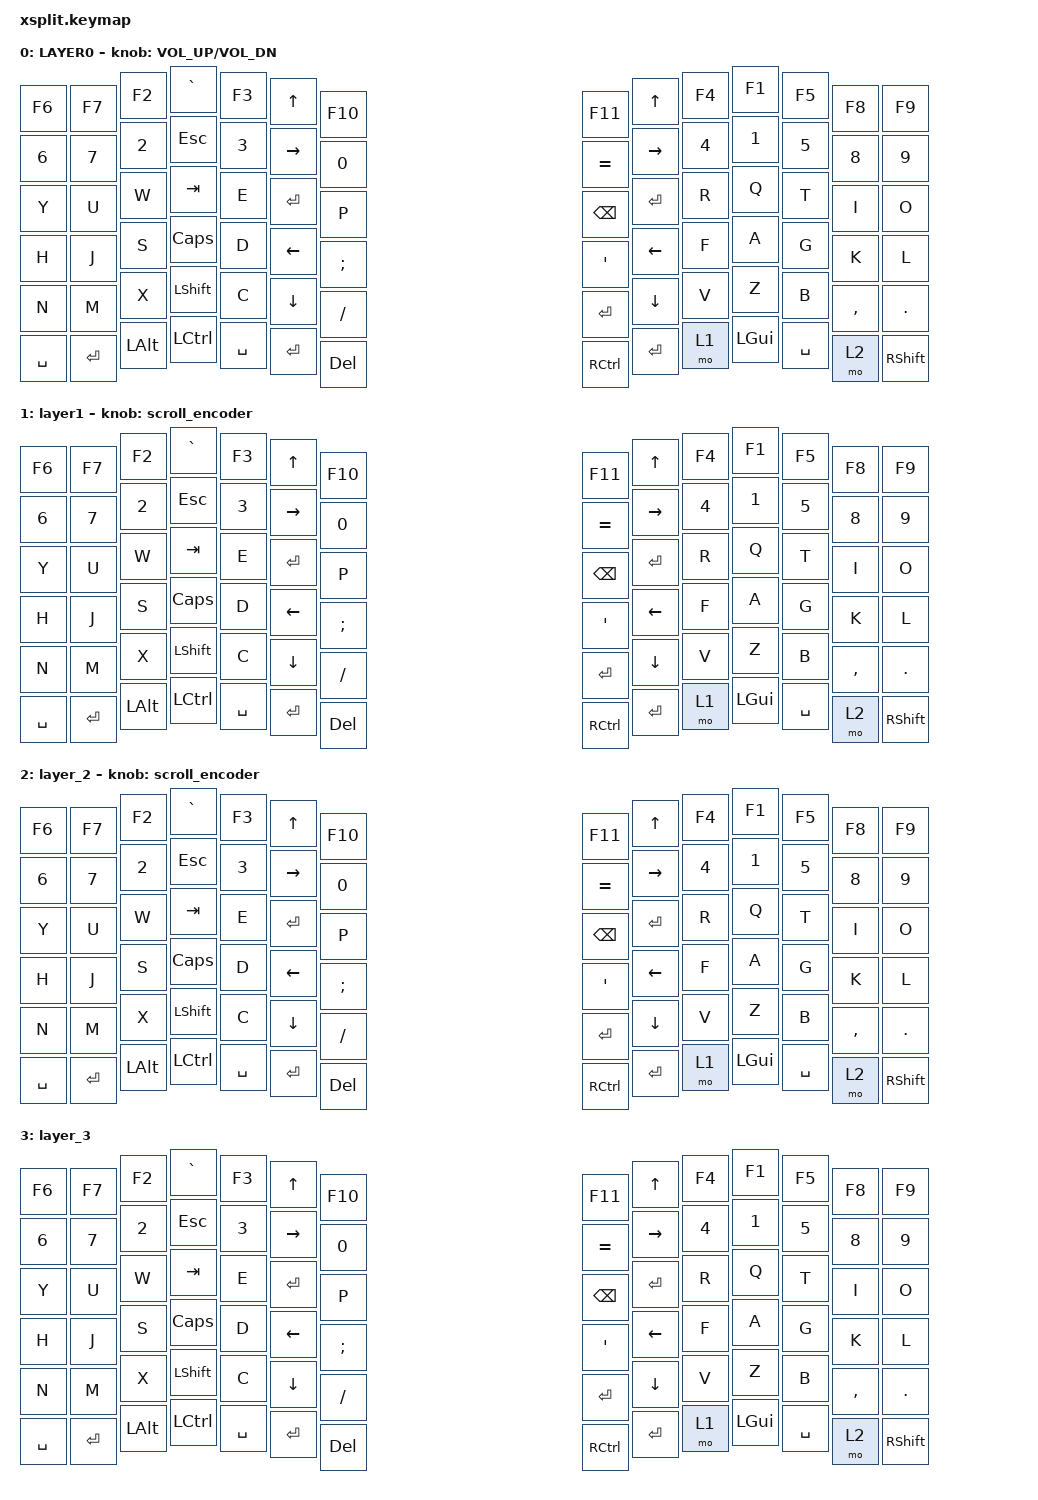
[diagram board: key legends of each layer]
#include <behaviors.dtsi>
#include <dt-bindings/zmk/bt.h>
#include <dt-bindings/zmk/keys.h>
#include <dt-bindings/zmk/mouse.h>
#include <dt-bindings/zmk/outputs.h>
#include <dt-bindings/zmk/rgb.h>


#include <input/processors.dtsi>

/*

   &mmv_input_listener {
       input-processors = <&zip_xy_scaler 2 1>;
   };

   &msc_input_listener {
       input-processors = <&zip_xy_scaler 2 1>;
   };

 */

#define ZMK_MOUSE_DEFAULT_MOVE_VAL 1200  // 600
#define ZMK_MOUSE_DEFAULT_SCRL_VAL 20    // 10


/ {
    behaviors {
        mmv {
            acceleration-exponent = <1>;      // 1
            time-to-max-speed-ms = <900>;    // 40
            delay-ms = <0>;                   // 0
        };

        msc {
            acceleration-exponent = <1>;      // 0
            time-to-max-speed-ms = <400>;      // 500
            delay-ms = <0>;                   //   10
        };
    };

    scroll_encoder: scroll_encoder {
        compatible = "zmk,behavior-sensor-rotate";
        #sensor-binding-cells = <0>;
        bindings = <&msc SCRL_DOWN>, <&msc SCRL_UP>;

        tap-ms = <30>;
    };


       xsplit_keymap: keymap {
        compatible = "zmk,keymap";

        layer0 {
            bindings = <
&kp GRAVE  &kp F1    &kp F2    &kp F3     &kp F4  &kp F5     &kp UP     &kp UP     &kp F6     &kp F7     &kp F8     &kp F9           &kp F10     &kp F11
&kp ESC    &kp N1    &kp N2    &kp N3     &kp N4  &kp N5     &kp RIGHT  &kp RIGHT  &kp N6     &kp N7     &kp N8     &kp N9           &kp N0      &kp EQUAL
&kp TAB    &kp Q     &kp W     &kp E      &kp R   &kp T      &kp RET    &kp RET    &kp Y      &kp U      &kp I      &kp O            &kp P       &kp BSPC
&kp CAPS   &kp A     &kp S     &kp D      &kp F   &kp G      &kp LEFT   &kp LEFT   &kp H      &kp J      &kp K      &kp L            &kp SEMI    &kp APOS
&kp LSHFT  &kp Z     &kp X     &kp C      &kp V   &kp B      &kp DOWN   &kp DOWN   &kp N      &kp M      &kp COMMA  &kp DOT          &kp FSLH    &kp ENTER
&kp LCTRL  &kp LGUI  &kp LALT  &kp SPACE  &mo 1   &kp SPACE  &kp ENTER  &kp ENTER  &kp SPACE  &kp ENTER  &mo 2      &kp RIGHT_SHIFT  &kp DELETE  &kp RCTRL
            >;

            sensor-bindings = <&inc_dec_kp C_VOLUME_UP C_VOL_DN>;
            display-name = "LAYER0";
        };

        layer_1 {
            bindings = <
&kp GRAVE  &kp F1    &kp F2    &kp F3     &kp F4  &kp F5     &kp UP     &kp UP     &kp F6     &kp F7     &kp F8     &kp F9           &kp F10     &kp F11
&kp ESC    &kp N1    &kp N2    &kp N3     &kp N4  &kp N5     &kp RIGHT  &kp RIGHT  &kp N6     &kp N7     &kp N8     &kp N9           &kp N0      &kp EQUAL
&kp TAB    &kp Q     &kp W     &kp E      &kp R   &kp T      &kp RET    &kp RET    &kp Y      &kp U      &kp I      &kp O            &kp P       &kp BSPC
&kp CAPS   &kp A     &kp S     &kp D      &kp F   &kp G      &kp LEFT   &kp LEFT   &kp H      &kp J      &kp K      &kp L            &kp SEMI    &kp APOS
&kp LSHFT  &kp Z     &kp X     &kp C      &kp V   &kp B      &kp DOWN   &kp DOWN   &kp N      &kp M      &kp COMMA  &kp DOT          &kp FSLH    &kp ENTER
&kp LCTRL  &kp LGUI  &kp LALT  &kp SPACE  &mo 1   &kp SPACE  &kp ENTER  &kp ENTER  &kp SPACE  &kp ENTER  &mo 2      &kp RIGHT_SHIFT  &kp DELETE  &kp RCTRL
>;
            display-name = "layer1";
            sensor-bindings = <&scroll_encoder>;
        };

        layer_2 {
            bindings = <
&kp GRAVE  &kp F1    &kp F2    &kp F3     &kp F4  &kp F5     &kp UP     &kp UP     &kp F6     &kp F7     &kp F8     &kp F9           &kp F10     &kp F11
&kp ESC    &kp N1    &kp N2    &kp N3     &kp N4  &kp N5     &kp RIGHT  &kp RIGHT  &kp N6     &kp N7     &kp N8     &kp N9           &kp N0      &kp EQUAL
&kp TAB    &kp Q     &kp W     &kp E      &kp R   &kp T      &kp RET    &kp RET    &kp Y      &kp U      &kp I      &kp O            &kp P       &kp BSPC
&kp CAPS   &kp A     &kp S     &kp D      &kp F   &kp G      &kp LEFT   &kp LEFT   &kp H      &kp J      &kp K      &kp L            &kp SEMI    &kp APOS
&kp LSHFT  &kp Z     &kp X     &kp C      &kp V   &kp B      &kp DOWN   &kp DOWN   &kp N      &kp M      &kp COMMA  &kp DOT          &kp FSLH    &kp ENTER
&kp LCTRL  &kp LGUI  &kp LALT  &kp SPACE  &mo 1   &kp SPACE  &kp ENTER  &kp ENTER  &kp SPACE  &kp ENTER  &mo 2      &kp RIGHT_SHIFT  &kp DELETE  &kp RCTRL
>;

            sensor-bindings = <&scroll_encoder>;
        };

        layer_3 {
            bindings = <
&kp GRAVE  &kp F1    &kp F2    &kp F3     &kp F4  &kp F5     &kp UP     &kp UP     &kp F6     &kp F7     &kp F8     &kp F9           &kp F10     &kp F11
&kp ESC    &kp N1    &kp N2    &kp N3     &kp N4  &kp N5     &kp RIGHT  &kp RIGHT  &kp N6     &kp N7     &kp N8     &kp N9           &kp N0      &kp EQUAL
&kp TAB    &kp Q     &kp W     &kp E      &kp R   &kp T      &kp RET    &kp RET    &kp Y      &kp U      &kp I      &kp O            &kp P       &kp BSPC
&kp CAPS   &kp A     &kp S     &kp D      &kp F   &kp G      &kp LEFT   &kp LEFT   &kp H      &kp J      &kp K      &kp L            &kp SEMI    &kp APOS
&kp LSHFT  &kp Z     &kp X     &kp C      &kp V   &kp B      &kp DOWN   &kp DOWN   &kp N      &kp M      &kp COMMA  &kp DOT          &kp FSLH    &kp ENTER
&kp LCTRL  &kp LGUI  &kp LALT  &kp SPACE  &mo 1   &kp SPACE  &kp ENTER  &kp ENTER  &kp SPACE  &kp ENTER  &mo 2      &kp RIGHT_SHIFT  &kp DELETE  &kp RCTRL
>;
        };
    };
};
